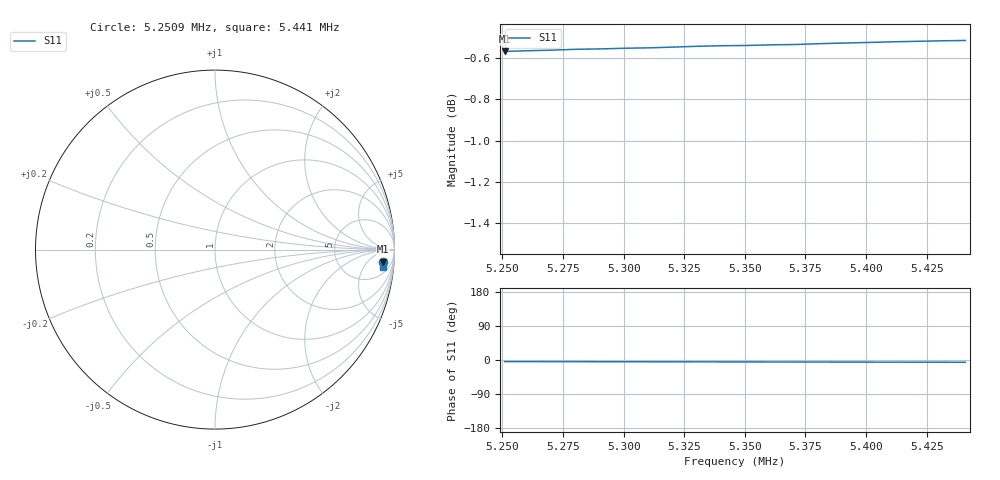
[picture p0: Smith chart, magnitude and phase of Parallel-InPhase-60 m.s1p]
# HZ S RI R 50
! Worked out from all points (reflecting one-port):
!   20 points, 5.2509 MHz to 5.441 MHz, reference 50 ohm
!   lowest |S11| = -0.6 dB at 5.2509 MHz (marker M1), VSWR 30.68, Z = 684 - j762 ohm
!   phase of S11 starts at -4 deg and turns -2 deg over the sweep
5250900  0.9344 -0.0681
5260904  0.9346 -0.0697
5270908  0.9348 -0.0713
5280912  0.9352 -0.0729
5290916  0.9353 -0.0743
5300920  0.9355 -0.0759
5310924  0.9356 -0.0774
5320928  0.9358 -0.0789
5330932  0.9361 -0.0805
5340936  0.9363 -0.0822
5350940  0.9363 -0.0835
5360944  0.9365 -0.0851
5370948  0.9365 -0.0866
5380952  0.9368 -0.0882
5390956  0.937 -0.0897
5400960  0.9372 -0.0912
5410964  0.9373 -0.0928
5420968  0.9374 -0.0944
5430972  0.9376 -0.0959
5440976  0.9376 -0.0975
